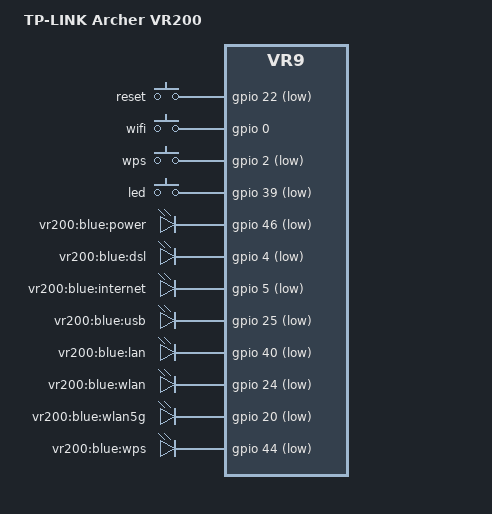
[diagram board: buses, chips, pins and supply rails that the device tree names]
/dts-v1/;

#include "vr9_tplink_vr200.dtsi"

/ {
	compatible = "tplink,vr200", "lantiq,xway", "lantiq,vr9";
	model = "TP-LINK Archer VR200";

	chosen {
		bootargs = "console=ttyLTQ0,115200";
	};

	aliases {
		led-boot = &power;
		led-failsafe = &power;
		led-running = &power;
		led-upgrade = &power;

		led-dsl = &dsl;
		led-internet = &internet;
		led-wifi = &wlan5g;

		led-usb = &led_usb;
		led-usb2 = &led_usb;
	};

	keys {
		compatible = "gpio-keys-polled";
		poll-interval = <100>;
		reset {
			label = "reset";
			gpios = <&gpio 22 GPIO_ACTIVE_LOW>;
			linux,code = <KEY_RESTART>;
		};

		wifi {
			label = "wifi";
			gpios = <&gpio 0 GPIO_ACTIVE_HIGH>;
			linux,code = <KEY_RFKILL>;
			linux,input-type = <EV_SW>;
		};

		wps {
			label = "wps";
			gpios = <&gpio 2 GPIO_ACTIVE_LOW>;
			linux,code = <KEY_WPS_BUTTON>;
		};

		led {
			label = "led";
			gpios = <&gpio 39 GPIO_ACTIVE_LOW>;
			linux,code = <KEY_LIGHTS_TOGGLE>;
		};
	};

	leds {
		compatible = "gpio-leds";
		power: power {
			label = "vr200:blue:power";
			gpios = <&gpio 46 GPIO_ACTIVE_LOW>;
			default-state = "keep";
		};
		dsl: dsl {
			label = "vr200:blue:dsl";
			gpios = <&gpio 4 GPIO_ACTIVE_LOW>;
		};
		internet: internet {
			label = "vr200:blue:internet";
			gpios = <&gpio 5 GPIO_ACTIVE_LOW>;
		};
		led_usb: usb {
			label = "vr200:blue:usb";
			gpios = <&gpio 25 GPIO_ACTIVE_LOW>;
		};
		eth {
			label = "vr200:blue:lan";
			gpios = <&gpio 40 GPIO_ACTIVE_LOW>;
		};
		wlan {
			label = "vr200:blue:wlan";
			gpios = <&gpio 24 GPIO_ACTIVE_LOW>;
		};
		wlan5g: wifi {
			label = "vr200:blue:wlan5g";
			gpios = <&gpio 20 GPIO_ACTIVE_LOW>;
		};
		led_wps {
			label = "vr200:blue:wps";
			gpios = <&gpio 44 GPIO_ACTIVE_LOW>;
		};
	};
};
